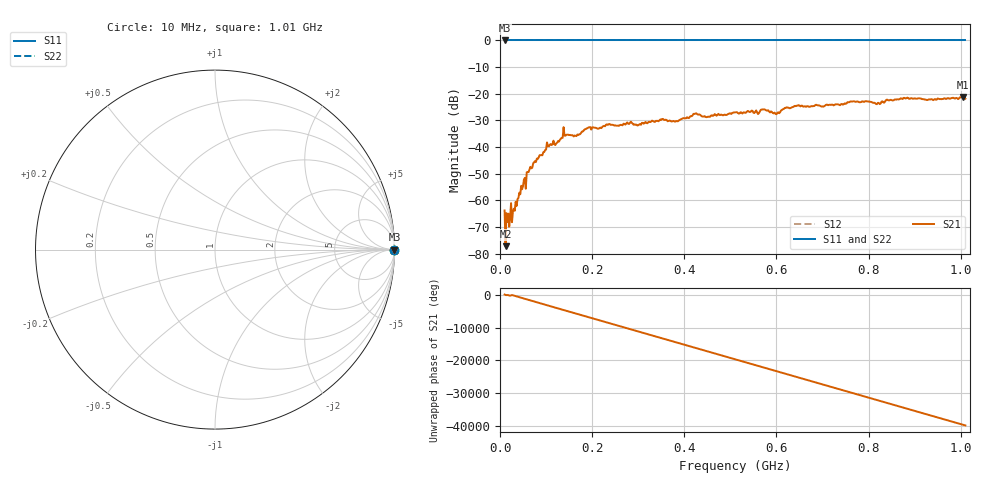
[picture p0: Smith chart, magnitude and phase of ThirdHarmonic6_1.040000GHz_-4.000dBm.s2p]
! 8/16/2025 9:00:55 AM
! C:\ANRITSUVNA\TEMP\TEMP.S2P
! CHANNEL.1
! TR.MEASUREMENT
! RAW.DATA
! RF.CORRECTION.OFF
! AVERAGING.OFF
! IF.BANDWIDTH: 5KHZ
! SWEEPTYPE:  FREQ.SWEEP(Linear)
! Reference Plane Port Info
! PORT:  PORT1  PORT2
! DISTANCE:  0  m  0  m
! TIME:  0  s  0  s
! PHASE.OFFSET:  0  deg.  0  deg.
! LOSS:  0  dB  0  dB
! REF.LOSS:  0  dB  0  dB
! REF.FREQ:  0  Hz  0  Hz
! Power Info
! POWER:  -20  dBm  -20  dBm
! EFF.POWER:  -20  dBm  -20  dBm
! SOURCE.ATTEN:  0  dB  0  dB
! TEST.ATTEN:  0  dB  0  dB
# GHZ S RI R 50.0
! FREQ.GHZ  S11RE  S11IM  S21RE  S21IM  S12RE  S12IM  S22RE  S22IM
!; PortSelection: Port_12
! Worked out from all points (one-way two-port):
!   501 points, 10 MHz to 1.01 GHz, reference 50 ohm
!   highest |S21| = -21.22 dB at 1.004 GHz (marker M1); lowest = -77.2 dB at 12 MHz (marker M2)
!   lowest |S11| = 0.0 dB at 10 MHz (marker M3)
!   |S11| at or under -10 dB: nowhere
!   |S22| runs from 0.0 to 0.0 dB; largest |S21 - S12| = 1.1
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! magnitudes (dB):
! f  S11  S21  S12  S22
! 10 MHz  0.0  -63.8  0.0  0.0
! 12 MHz  0.0  -77.2  0.0  0.0
! 16 MHz  0.0  -68.1  0.0  0.0
! 20 MHz  0.0  -69.9  0.0  0.0
! 30 MHz  0.0  -63.2  0.0  0.0
! 62 MHz  0.0  -49.4  0.0  0.0
! 106 MHz  0.0  -39.8  0.0  0.0
! 124 MHz  0.0  -38.4  0.0  0.0
! 142 MHz  0.0  -35.8  0.0  0.0
! 162 MHz  0.0  -35.7  0.0  0.0
! 178 MHz  0.0  -34.2  0.0  0.0
! 234 MHz  0.0  -31.7  0.0  0.0
! 344 MHz  0.0  -30.3  0.0  0.0
! 424 MHz  0.0  -27.5  0.0  0.0
! 510 MHz  0.0  -27.0  0.0  0.0
! 572 MHz  0.0  -25.9  0.0  0.0
! 602 MHz  0.0  -27.1  0.0  0.0
! 622 MHz  0.0  -25.1  0.0  0.0
! 678 MHz  0.0  -24.7  0.0  0.0
! 844 MHz  0.0  -22.5  0.0  0.0
! 1.004 GHz  0.0  -21.2  0.0  0.0
! 1.01 GHz  0.0  -21.8  0.0  0.0
